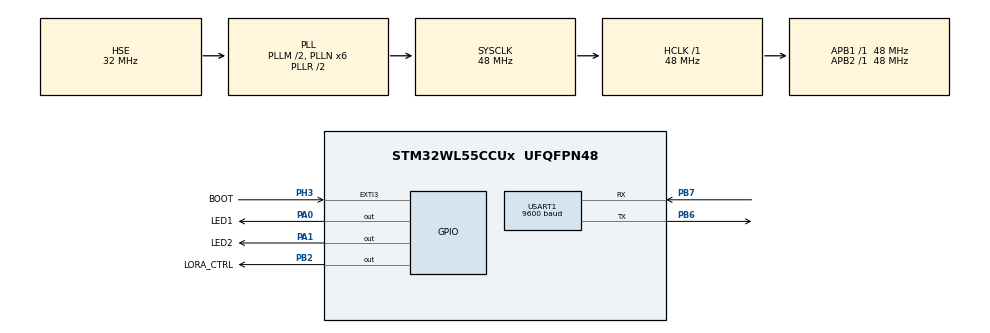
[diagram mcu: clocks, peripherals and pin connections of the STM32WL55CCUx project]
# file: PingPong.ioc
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Dma.Request0=USART1_TX
Dma.USART1_TX.0.Channel_PRIV_NPRIV=DMA_CHANNEL_NPRIV_DISABLE
Dma.USART1_TX.0.Direction=DMA_MEMORY_TO_PERIPH
Dma.USART1_TX.0.EventEnable=DISABLE
Dma.USART1_TX.0.Instance=DMA1_Channel5
Dma.USART1_TX.0.MemDataAlignment=DMA_MDATAALIGN_BYTE
Dma.USART1_TX.0.MemInc=DMA_MINC_ENABLE
Dma.USART1_TX.0.Mode=DMA_NORMAL
Dma.USART1_TX.0.PeriphDataAlignment=DMA_PDATAALIGN_BYTE
Dma.USART1_TX.0.PeriphInc=DMA_PINC_DISABLE
Dma.USART1_TX.0.Polarity=HAL_DMAMUX_REQ_GEN_RISING
Dma.USART1_TX.0.Priority=DMA_PRIORITY_HIGH
Dma.USART1_TX.0.RequestNumber=1
Dma.USART1_TX.0.SignalID=NONE
Dma.USART1_TX.0.SyncEnable=DISABLE
Dma.USART1_TX.0.SyncPolarity=HAL_DMAMUX_SYNC_NO_EVENT
Dma.USART1_TX.0.SyncRequestNumber=1
Dma.USART1_TX.0.SyncSignalID=NONE
Mcu.Family=STM32WL
Mcu.Name=STM32WL55CCUx
Mcu.Package=UFQFPN48
Mcu.UserConstants=RTC_PREDIV_A,((1<<(15-RTC_N_PREDIV_S))-1);RTC_N_PREDIV_S,10;RTC_PREDIV_S,((1<<RTC_N_PREDIV_S)-1)
NVIC.DMA1_Channel5_IRQn=true\:0\:0\:false\:false\:true\:false\:true\:true
NVIC.EXTI3_IRQn=true\:0\:0\:false\:false\:true\:true\:true\:true
NVIC.PriorityGroup=NVIC_PRIORITYGROUP_4
NVIC.SUBGHZ_Radio_IRQn=true\:0\:0\:false\:false\:true\:true\:true\:true
NVIC.USART1_IRQn=true\:0\:0\:false\:false\:true\:true\:true\:true
OSC_IN.Mode=HSE-External-Oscillator
OSC_IN.Signal=RCC_OSC_IN
OSC_OUT.Mode=HSE-External-Oscillator
OSC_OUT.Signal=RCC_OSC_OUT
PA0.GPIO_Label=LED1
PA0.Signal=GPIO_Output
PA1.GPIO_Label=LED2
PA1.Signal=GPIO_Output
PA13.Mode=Serial_Wire
PA13.Signal=DEBUG_JTMS-SWDIO
PA14.Mode=Serial_Wire
PA14.Signal=DEBUG_JTCK-SWCLK
PB2.GPIO_Label=LORA_CTRL
PB2.Signal=GPIO_Output
PB6.Mode=Asynchronous
PB6.Signal=USART1_TX
PB7.Mode=Asynchronous
PB7.Signal=USART1_RX
PC14-OSC32_IN.Mode=LSE-External-Oscillator
PC14-OSC32_IN.Signal=RCC_OSC32_IN
PC15-OSC32_OUT.Mode=LSE-External-Oscillator
PC15-OSC32_OUT.Signal=RCC_OSC32_OUT
PH3-BOOT0.GPIO_Label=BOOT
PH3-BOOT0.GPIO_ModeDefaultEXTI=GPIO_MODE_IT_FALLING
PH3-BOOT0.GPIO_PuPd=GPIO_PULLUP
PH3-BOOT0.Signal=GPXTI3
ProjectManager.HeapSize=0x200
ProjectManager.StackSize=0x400
ProjectManager.TargetToolchain=MDK-ARM V5.37
RCC.AHBFreq_Value=48000000
RCC.APB1Freq_Value=48000000
RCC.APB1TimFreq_Value=48000000
RCC.APB2Freq_Value=48000000
RCC.APB2TimFreq_Value=48000000
RCC.APB3Freq_Value=48000000
RCC.CortexFreq_Value=48000000
RCC.HCLKFreq_Value=48000000
RCC.HSE_VALUE=32000000
RCC.HSI_VALUE=16000000
RCC.LSE_VALUE=32768
RCC.MSIClockRange=RCC_MSIRANGE_11
RCC.PLLM=RCC_PLLM_DIV2
RCC.PLLN=6
RCC.PLLSourceVirtual=RCC_PLLSOURCE_HSE
RCC.RTCClockSelection=RCC_RTCCLKSOURCE_LSE
RCC.SYSCLKFreq_VALUE=48000000
RCC.SYSCLKSource=RCC_SYSCLKSOURCE_PLLCLK
RCC.USART1CLockSelection=RCC_USART1CLKSOURCE_HSI
RCC.VCOOutputFreq_Value=96000000
RTC.AsynchPrediv=127
RTC.BinMode=RTC_BINARY_NONE
SUBGHZ_PHY.APP_LOG_ENABLED=false
SUBGHZ_PHY.LORA_FIX_LENGTH_PAYLOAD_ON=false
SUBGHZ_PHY.SUBGHZ_APPLICATION=SUBGHZ_USER_APPLICATION
SUBGHZ_PHY.USE_LPM=false
SUBGHZ_PHY.USE_RTC=false
SUBGHZ_PHY.USE_UART=true
SubGHz_Phy.BSP.number=1
SubGHz_Phy0.BSP.STBoard=false
SubGHz_Phy0.BSP.api=Unknown
SubGHz_Phy0.BSP.condition=\!SEM_SUBGHZ_USER_APPLICATION | SEM_SUBGHZ_USE_UART
SubGHz_Phy0.BSP.instance=USART1
SubGHz_Phy0.BSP.ip=(LPU|US)ART
SubGHz_Phy0.BSP.mode=Asynchronous
SubGHz_Phy0.BSP.name=USART
SubGHz_Phy0.BSP.solution=USART1
USART1.BaudRate=9600
USART1.FIFOMode=FIFOMODE_ENABLE
USART1.RXFIFOThreshold=RXFIFO_THRESHOLD_HALFFULL
USART1.VirtualMode-Asynchronous=VM_ASYNC
VP_ADV_TRACE_VS_ADV_TRACE.Mode=ADV_TRACE_Enabled
VP_MISC_VS_MISC.Mode=MISC_Enabled
VP_RTC_VS_RTC_Activate.Mode=RTC_Enabled
VP_RTC_VS_RTC_Calendar.Mode=RTC_Calendar
VP_SEQUENCER_M4_VS_SEQUENCER.Mode=SEQUENCER_Enabled
VP_SUBGHZ_PHY_VS_SubGhzPhy.Mode=SubGhzPhy_Enabled
VP_SUBGHZ_VS_SUBGHZ.Mode=SUBGHZ_Activate
VP_TIMER_VS_TIMER.Mode=TIMER_Enabled
VP_TINY_LPM_VS_TINY_LPM.Mode=TINY_LPM_Enabled
board=custom

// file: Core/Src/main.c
/* USER CODE BEGIN Header */
/**
  ******************************************************************************
  * @file           : main.c
  * @brief          : Main program body
  ******************************************************************************
  * @attention
  *
  * Copyright (c) 2024 STMicroelectronics.
  * All rights reserved.
  *
  * This software is licensed under terms that can be found in the LICENSE file
  * in the root directory of this software component.
  * If no LICENSE file comes with this software, it is provided AS-IS.
  *
  ******************************************************************************
  */
/* USER CODE END Header */
#include "main.h"
#include "dma.h"
#include "rtc.h"
#include "app_subghz_phy.h"
#include "usart.h"
#include "gpio.h"

/* USER CODE BEGIN Includes */
#include <stdint.h>
#include "rtc.h"
#include "usart.h"
#include "subghz.h"
#include "lib_log.h"

#include "utilities_conf.h"
#include "stm32_seq.h"
#include "stm32_adv_trace.h"

#include "usart_if.h"
#include "sys_app.h"
#include "app_version.h"
#include "subghz_phy_version.h"

#include "subghz_phy_app.h"
#include "radio.h"
#include "stm32_timer.h"
#include "utilities_def.h"
#include "subg_command.h"
#include "subg_at.h"
/* USER CODE END Includes */

/* USER CODE BEGIN PV */
RTC_TimeTypeDef RTC_Time;
RTC_DateTypeDef RTC_Date;
/* USER CODE END PV */

void SystemClock_Config(void);

/* USER CODE BEGIN 0 */
void MyTask0(void)
{
  LOG_INFO("My Task is taggert 000\n");
  LED2_TRI;
}

void MyTask1(void)
{
  LOG_USER("My Task is taggert 111\n");
  LED2_TRI;
}

uint16_t task_idx = 0;

void HAL_GPIO_EXTI_Callback(uint16_t GPIO_Pin)
{
  if(GPIO_Pin == BOOT_Pin) {
    LOG_INFO("BOOT PRESS\n");
    if(task_idx % 2 == 0) {
      // UTIL_SEQ_SetTask((1 << CFG_SEQ_Prio_0), UTIL_SEQ_RFU);
    }else{
      UTIL_SEQ_SetTask((1 << CFG_TASK_ID_BOOT_BTN), UTIL_SEQ_RFU);
    }

    task_idx++;
    // LED2_TRI;
  }
}

#define BUF_SIZE 16
uint8_t usart_buf[BUF_SIZE]={0};
uint16_t usart_widx = 0;
uint16_t usart_cnt = 0;
uint16_t buff_over = 0;

void USART_GetChar(uint8_t *rxChar, uint16_t size, uint8_t error)
{
  if(*rxChar != '\n') {

    if(usart_cnt < BUF_SIZE - 1) {
      usart_buf[usart_cnt] = *rxChar;
      usart_cnt++;
    }
  } else {
    usart_buf[usart_cnt] = '\0';
    buff_over = 1;
  }

  UTIL_SEQ_SetTask((1 << CFG_SEQ_Task_Vcom), UTIL_SEQ_RFU);
}

void USART_process(void)
{
  LOG_TRACE("USART_process:[%s]\n", usart_buf);
  if(buff_over == 1) {
    buff_over = 0;
    usart_cnt = 0;
  }
}

static void CmdProcessNotify(void)
{
  /* USER CODE BEGIN CmdProcessNotify_1 */

  /* USER CODE END CmdProcessNotify_1 */
  UTIL_SEQ_SetTask((1 << CFG_SEQ_Task_Vcom), UTIL_SEQ_RFU);
  /* USER CODE BEGIN CmdProcessNotify_2 */

  /* USER CODE END CmdProcessNotify_2 */
}
/* USER CODE END 0 */

int main(void)
{

  /* MCU Configuration--------------------------------------------------------*/

  /* Reset of all peripherals, Initializes the Flash interface and the Systick. */
  HAL_Init();

  /* Configure the system clock */
  SystemClock_Config();

  /* USER CODE BEGIN SysInit */
  UTIL_SEQ_Init();

  UTIL_ADV_TRACE_Init();
  // UTIL_ADV_TRACE_RegisterTimeStampFunction(TimestampNow);
  UTIL_ADV_TRACE_SetVerboseLevel(VLEVEL_M);
  // UTIL_ADV_TRACE_StartRxProcess(USART_GetChar);

  segger_rtt_init("Hello SEGGER RTT\n");
  uint32_t LED_tick = HAL_GetTick();
  uint32_t RTC_tick = HAL_GetTick();

  /* USER CODE END SysInit */

  /* Initialize all configured peripherals */
  MX_GPIO_Init();
  MX_DMA_Init();
  MX_USART1_UART_Init();
  MX_RTC_Init();
  MX_SubGHz_Phy_Init();
  /* USER CODE BEGIN 2 */
#if 0
  /*Initialize the terminal */
  // UTIL_ADV_TRACE_Init();
  // UTIL_ADV_TRACE_RegisterTimeStampFunction(TimestampNow);
  // UTIL_ADV_TRACE_SetVerboseLevel(VLEVEL_M);
  // UTIL_ADV_TRACE_StartRxProcess(USART_GetChar);

  // CMD_Init(CmdProcessNotify);
  // UTIL_SEQ_RegTask((1 << CFG_SEQ_Task_Vcom), UTIL_SEQ_RFU, CMD_Process);

  // UTIL_ADV_TRACE_StartRxProcess(CMD_GetChar);
  // HAL_SUBGHZ_Init(&hsubghz);
  // UTIL_SEQ_RegTask((1 << CFG_SEQ_Task_Vcom), UTIL_SEQ_RFU, USART_process);
  // UTIL_SEQ_RegTask((1 << CFG_TASK_ID_BOOT_BTN), UTIL_SEQ_RFU, MyTask1);

  RTC_Time.Hours = 14;
  RTC_Time.Minutes = 20;
  RTC_Time.Seconds = 0;
  RTC_Date.Year = 24;
  RTC_Date.Month = RTC_MONTH_JULY;
  RTC_Date.Date = 8;
  RTC_Date.WeekDay = RTC_WEEKDAY_MONDAY;

  HAL_RTC_SetTime(&hrtc, &RTC_Time, RTC_FORMAT_BCD);
  HAL_RTC_SetDate(&hrtc, &RTC_Date, RTC_FORMAT_BCD);

  segger_rtt_init("Hello SEGGER RTT\n");
  char txBuffer[] = "Hello World\n";

  while(1)
  {
    if(HAL_GetTick() - LED_tick > 200) {
      LED_tick = HAL_GetTick();
      // HAL_SUBGHZ_WriteBuffer(&hsubghz, 0x00, (uint8_t *)txBuffer, strlen(txBuffer));
      LED1_TRI;
    }

    // if(HAL_GetTick() - RTC_tick > 1000) {
      // RTC_tick = HAL_GetTick();
      // AT_PPRINTF("Hello\n");

      // vcom_Trace_DMA((uint8_t *)txBuffer, strlen(txBuffer));
      // HAL_UART_Transmit_DMA(&huart1, (uint8_t *)txBuffer, strlen(txBuffer));

      /* Get SubGHY_Phy APP version*/
      // APP_LOG(TS_OFF, VLEVEL_M, "APPLICATION_VERSION: V%X.%X.%X\r\n",
      //         (uint8_t)(APP_VERSION_MAIN),
      //         (uint8_t)(APP_VERSION_SUB1),
      //         (uint8_t)(APP_VERSION_SUB2));

      // /* Get MW SubGhz_Phy info */
      // APP_LOG(TS_OFF, VLEVEL_M, "MW_RADIO_VERSION:    V%X.%X.%X\r\n",
      //         (uint8_t)(SUBGHZ_PHY_VERSION_MAIN),
      //         (uint8_t)(SUBGHZ_PHY_VERSION_SUB1),
      //         (uint8_t)(SUBGHZ_PHY_VERSION_SUB2));

      // HAL_RTC_GetTime(&hrtc, &RTC_Time, RTC_FORMAT_BCD);
      // HAL_RTC_GetDate(&hrtc, &RTC_Date, RTC_FORMAT_BCD);
      // LOG_INFO("[%02d]%02d/%02d/%02d %02d:%02d:%02d\r\n",RTC_Date.WeekDay, 2000 + RTC_Date.Year, RTC_Date.Month, RTC_Date.Date,
      //               RTC_Time.Hours, RTC_Time.Minutes, RTC_Time.Seconds);
    // }

    // UTIL_SEQ_Run(UTIL_SEQ_DEFAULT);
    MX_SubGHz_Phy_Process();
  }
#endif
  /* USER CODE END 2 */

  /* Infinite loop */
  /* USER CODE BEGIN WHILE */

  while (1)
  {
    if(HAL_GetTick() - LED_tick > 200) {
      LED_tick = HAL_GetTick();
      LED2_TRI;
    }

    if(HAL_GetTick() - RTC_tick > 1000) {
      RTC_tick = HAL_GetTick();
      HAL_RTC_GetTime(&hrtc, &RTC_Time, RTC_FORMAT_BCD);
      HAL_RTC_GetDate(&hrtc, &RTC_Date, RTC_FORMAT_BCD);
      /* Display date Format : yy/mm/dd */
      LOG_INFO("[%02d]%02d/%02d/%02d %02d:%02d:%02d\r\n",RTC_Date.WeekDay, 2000 + RTC_Date.Year, RTC_Date.Month, RTC_Date.Date,
                    RTC_Time.Hours, RTC_Time.Minutes, RTC_Time.Seconds);
      LED1_TRI;
    }
    /* USER CODE END WHILE */
    MX_SubGHz_Phy_Process();

  }
}

void SystemClock_Config(void)
{
  RCC_OscInitTypeDef RCC_OscInitStruct = {0};
  RCC_ClkInitTypeDef RCC_ClkInitStruct = {0};

  /** Configure LSE Drive Capability
  */
  HAL_PWR_EnableBkUpAccess();
  __HAL_RCC_LSEDRIVE_CONFIG(RCC_LSEDRIVE_LOW);

  /** Configure the main internal regulator output voltage
  */
  __HAL_PWR_VOLTAGESCALING_CONFIG(PWR_REGULATOR_VOLTAGE_SCALE1);

  /** Initializes the CPU, AHB and APB buses clocks
  */
  RCC_OscInitStruct.OscillatorType = RCC_OSCILLATORTYPE_HSI|RCC_OSCILLATORTYPE_HSE
                              |RCC_OSCILLATORTYPE_LSE;
  RCC_OscInitStruct.HSEState = RCC_HSE_ON;
  RCC_OscInitStruct.LSEState = RCC_LSE_ON;
  RCC_OscInitStruct.HSIState = RCC_HSI_ON;
  RCC_OscInitStruct.HSICalibrationValue = RCC_HSICALIBRATION_DEFAULT;
  RCC_OscInitStruct.HSEDiv = RCC_HSE_DIV1;
  RCC_OscInitStruct.PLL.PLLState = RCC_PLL_ON;
  RCC_OscInitStruct.PLL.PLLSource = RCC_PLLSOURCE_HSE;
  RCC_OscInitStruct.PLL.PLLM = RCC_PLLM_DIV2;
  RCC_OscInitStruct.PLL.PLLN = 6;
  RCC_OscInitStruct.PLL.PLLP = RCC_PLLP_DIV2;
  RCC_OscInitStruct.PLL.PLLR = RCC_PLLR_DIV2;
  RCC_OscInitStruct.PLL.PLLQ = RCC_PLLQ_DIV2;
  if (HAL_RCC_OscConfig(&RCC_OscInitStruct) != HAL_OK)
  {
    Error_Handler();
  }

  /** Configure the SYSCLKSource, HCLK, PCLK1 and PCLK2 clocks dividers
  */
  RCC_ClkInitStruct.ClockType = RCC_CLOCKTYPE_HCLK3|RCC_CLOCKTYPE_HCLK
                              |RCC_CLOCKTYPE_SYSCLK|RCC_CLOCKTYPE_PCLK1
                              |RCC_CLOCKTYPE_PCLK2;
  RCC_ClkInitStruct.SYSCLKSource = RCC_SYSCLKSOURCE_PLLCLK;
  RCC_ClkInitStruct.AHBCLKDivider = RCC_SYSCLK_DIV1;
  RCC_ClkInitStruct.APB1CLKDivider = RCC_HCLK_DIV1;
  RCC_ClkInitStruct.APB2CLKDivider = RCC_HCLK_DIV1;
  RCC_ClkInitStruct.AHBCLK3Divider = RCC_SYSCLK_DIV1;

  if (HAL_RCC_ClockConfig(&RCC_ClkInitStruct, FLASH_LATENCY_2) != HAL_OK)
  {
    Error_Handler();
  }
}

void Error_Handler(void)
{
  __disable_irq();
  while (1)
  {
  }
}
